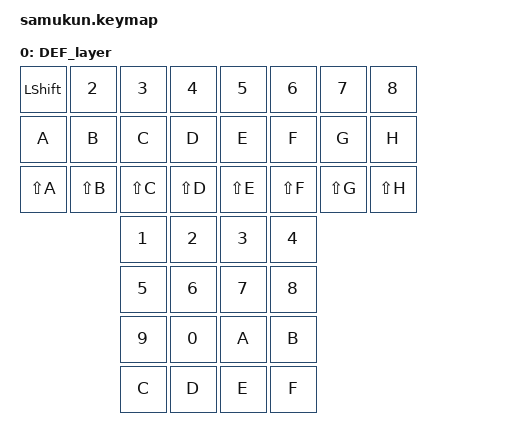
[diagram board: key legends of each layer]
/*
 * Copyright (c) 2020 The ZMK Contributors
 *
 * SPDX-License-Identifier: MIT
 */

#include <zephyr/dt-bindings/input/input-event-codes.h>

#include <behaviors.dtsi>
#include <behaviors/mouse_keys.dtsi>
#include <behaviors/mouse_key_press.dtsi>
#include <behaviors/mouse_move.dtsi>
#include <dt-bindings/zmk/keys.h>
#include <dt-bindings/zmk/outputs.h>
#include <dt-bindings/zmk/mouse.h>
#include <dt-bindings/zmk/input_transform.h>
#include <input/processors.dtsi>

#define DEF 0

/ {
        xy_transf: xy_transf {
                compatible = "zmk,input-processor-transform";
                #input-processor-cells = <1>;
                type = <INPUT_EV_REL>;
                x-codes = <INPUT_REL_X>, <INPUT_REL_WHEEL>;
                y-codes = <INPUT_REL_Y>, <INPUT_REL_HWHEEL>;
        };
        xy_scaler: xy_scaler {
                compatible = "zmk,input-processor-scaler";
                #input-processor-cells = <2>;
                type = <INPUT_EV_REL>;
                codes = <INPUT_REL_X>, <INPUT_REL_Y>;
                track-remainders;
        };
        tpoint0_mmv_ibl {
                compatible = "zmk,input-listener";
                device = <&spi_mlx90393>;
                input-processors = <&xy_transf (INPUT_TRANSFORM_XY_SWAP | INPUT_TRANSFORM_X_INVERT | INPUT_TRANSFORM_Y_INVERT)>
                                ,  <&xy_scaler 1 45>;
        };

        // tpoint0_mmv_ibl {
        //         compatible = "zmk,input-behavior-listener";
        //         device = <&tpoint0>;
        //         layers = <DEF>;
	//         evt-type = <INPUT_EV_REL>;
	//         x-input-code = <INPUT_REL_X>;
	//         y-input-code = <INPUT_REL_Y>;
        //         xy-swap;
        //         x-invert;
        //         y-invert;
        //         // bindings = <&ib_tog_layer MSK>;
        // };

        // tpoint1_mmv_ibl {
        //         compatible = "zmk,input-behavior-listener";
        //         device = <&tpoint1>;
        //         layers = <DEF>;
	//         evt-type = <INPUT_EV_REL>;
	//         x-input-code = <INPUT_REL_X>;
	//         y-input-code = <INPUT_REL_Y>;
        //         xy-swap; 
        //         x-invert;
        //         y-invert;
        //         // bindings = <&ib_tog_layer MSK>;
        // };

        // ib_fwd_to_hid_io: ib_forward_fwd_to_hid_io {
        //         compatible = "zmk,input-behavior-fwd-to-hid-io";
        //         #binding-cells = <0>;
        // };

        // behaviors {
        //         ec_s: mouse_scroll {
        //                 compatible = "zmk,behavior-input-two-axis";
        //                 #binding-cells = <1>;
        //                 trigger-period-ms = <12>; // slow down for OTA, default is 3ms
        //                 x-input-code = <INPUT_REL_HWHEEL>;
        //                 y-input-code = <INPUT_REL_WHEEL>;
        //                 time-to-max-speed-ms = <177>;
        //                 acceleration-exponent = <0>;
        //         };
        //         rot_enc: sensor_rotate {
        //                 compatible = "zmk,behavior-sensor-rotate";
        //                 #sensor-binding-cells = <0>;
        //                 bindings = <&ec_s MOVE_Y(-37)>, <&ec_s MOVE_Y(37)>;
        //                 tap-ms = <65>;
        //         };
        // };

        keymap {
                compatible = "zmk,keymap";
                DEF_layer {
                        bindings = <

&kp LSHFT  &kp N2  &kp N3  &kp N4  &kp N5  &kp N6  &kp N7  &kp N8
&kp A  &kp B  &kp C  &kp D  &kp E  &kp F  &kp G  &kp H
&kp LS(A)  &kp LS(B)  &kp LS(C)  &kp LS(D)  &kp LS(E)  &kp LS(F)  &kp LS(G)  &kp LS(H)

&kp N1   &kp N2   &kp N3   &kp N4
&kp N5   &kp N6   &kp N7   &kp N8
&kp N9   &kp N0   &kp A    &kp B
&kp C    &kp D    &kp E    &kp F

                        >;
                        // sensor-bindings = < &rot_enc >;
                };
       };
};
